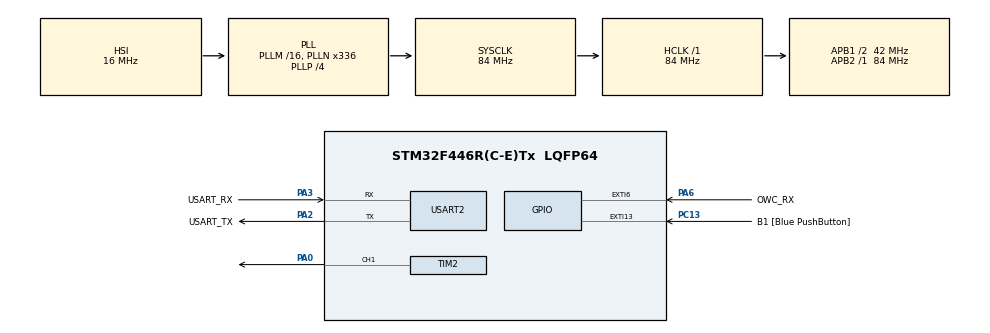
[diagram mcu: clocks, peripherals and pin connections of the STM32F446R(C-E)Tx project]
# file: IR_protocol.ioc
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Mcu.Family=STM32F4
Mcu.Name=STM32F446R(C-E)Tx
Mcu.Package=LQFP64
NVIC.EXTI9_5_IRQn=true\:0\:0\:false\:false\:true\:true\:true\:true
NVIC.PriorityGroup=NVIC_PRIORITYGROUP_0
NVIC.TIM3_IRQn=true\:0\:0\:false\:false\:true\:true\:true\:true
NVIC.TIM4_IRQn=true\:0\:0\:false\:false\:true\:true\:true\:true
PA0-WKUP.Signal=S_TIM2_CH1_ETR
PA13.GPIO_Label=TMS
PA13.Mode=Serial_Wire
PA13.Signal=SYS_JTMS-SWDIO
PA14.GPIO_Label=TCK
PA14.Mode=Serial_Wire
PA14.Signal=SYS_JTCK-SWCLK
PA2.GPIO_Label=USART_TX
PA2.Mode=Asynchronous
PA2.Signal=USART2_TX
PA3.GPIO_Label=USART_RX
PA3.Mode=Asynchronous
PA3.Signal=USART2_RX
PA6.GPIO_Label=OWC_RX
PA6.GPIO_ModeDefaultEXTI=GPIO_MODE_IT_RISING_FALLING
PA6.Signal=GPXTI6
PB3.GPIO_Label=SWO
PB3.Signal=SYS_JTDO-SWO
PC13.GPIO_Label=B1 [Blue PushButton]
PC13.GPIO_ModeDefaultEXTI=GPIO_MODE_IT_FALLING
PC13.Signal=GPXTI13
PC14-OSC32_IN.Mode=LSE-External-Oscillator
PC14-OSC32_IN.Signal=RCC_OSC32_IN
PC15-OSC32_OUT.Mode=LSE-External-Oscillator
PC15-OSC32_OUT.Signal=RCC_OSC32_OUT
PH0-OSC_IN.Mode=HSE-External-Oscillator
PH0-OSC_IN.Signal=RCC_OSC_IN
PH1-OSC_OUT.Mode=HSE-External-Oscillator
PH1-OSC_OUT.Signal=RCC_OSC_OUT
ProjectManager.HeapSize=0x200
ProjectManager.StackSize=0x400
ProjectManager.TargetToolchain=STM32CubeIDE
RCC.48MHZClocksFreq_Value=84000000
RCC.AHBFreq_Value=84000000
RCC.APB1CLKDivider=RCC_HCLK_DIV2
RCC.APB1Freq_Value=42000000
RCC.APB1TimFreq_Value=84000000
RCC.APB2Freq_Value=84000000
RCC.APB2TimFreq_Value=84000000
RCC.CortexFreq_Value=84000000
RCC.FLatency-AdvancedSettings=FLASH_LATENCY_2
RCC.HCLKFreq_Value=84000000
RCC.HSE_VALUE=8000000
RCC.HSI_VALUE=16000000
RCC.PLLN=336
RCC.PLLP=RCC_PLLP_DIV4
RCC.SYSCLKFreq_VALUE=84000000
RCC.SYSCLKSource=RCC_SYSCLKSOURCE_PLLCLK
RCC.USBFreq_Value=168000000
RCC.VCOOutputFreq_Value=336000000
SH.S_TIM2_CH1_ETR.0=TIM2_CH1,PWM Generation1 CH1
TIM2.Channel-PWM\ Generation1\ CH1=TIM_CHANNEL_1
TIM2.Period=1462 - 1
TIM2.Pulse-PWM\ Generation1\ CH1=731 - 1
TIM3.Period=65535
TIM3.Prescaler=84 - 1
TIM4.Prescaler=84 - 1
USART2.VirtualMode=VM_ASYNC
VP_TIM2_VS_ClockSourceINT.Mode=Internal
VP_TIM3_VS_ClockSourceINT.Mode=Internal
VP_TIM4_VS_ClockSourceINT.Mode=Internal
board=NUCLEO-F446RE

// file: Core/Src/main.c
/* USER CODE BEGIN Header */
/**
  ******************************************************************************
  * @file           : main.c
  * @brief          : Main program body
  ******************************************************************************
  * @attention
  *
  * Copyright (c) 2025 STMicroelectronics.
  * All rights reserved.
  *
  * This software is licensed under terms that can be found in the LICENSE file
  * in the root directory of this software component.
  * If no LICENSE file comes with this software, it is provided AS-IS.
  *
  ******************************************************************************
  */
/* USER CODE END Header */
#include "main.h"

/* USER CODE BEGIN Includes */
#include <stdio.h>
#include <stdbool.h>
#include <string.h>
/* USER CODE END Includes */

/* USER CODE BEGIN PTD */

typedef enum{
	LEFT,
	RIGHT
} SideState;

typedef enum{
	LEFT_BURST,
	LEFT_GAP,
	RIGHT_BURST,
	RIGHT_GAP,
	START_BURST,
	START_GAP,
	STOP_BURST,
	STOP_GAP
} TX_STATE;

typedef struct{
	uint16_t burstLen;
	uint16_t gapLen;
} SignalData;

typedef struct{
	uint8_t head;
	uint8_t tail;
	SignalData items[64];
} Queue;

typedef struct{
	uint16_t burstPeriod;
	uint16_t gapPeriod;
	uint16_t burstLower;
	uint16_t burstUpper;
	uint16_t gapLower;
	uint16_t gapUpper;
	uint8_t symbol;
} SymbolTiming;

/* USER CODE END PTD */

TIM_HandleTypeDef htim2;
TIM_HandleTypeDef htim3;
TIM_HandleTypeDef htim4;

UART_HandleTypeDef huart2;

/* USER CODE BEGIN PV */
static volatile bool receivedStartSymbol = false;

// ISR variables
static volatile uint8_t triggerCount = 0;
static volatile uint16_t lastTriggerTime = 0;
static volatile SignalData rxSignal;
// RX data variables
static volatile uint8_t rxDataBuffer[280];
static volatile uint16_t rxDataIndex;
// TX data variables
static uint8_t txDataBuffer[280];
static uint8_t txDataLength = 0;
static volatile uint8_t txDataByte = 0;
static volatile SymbolTiming txCurrentSymbol;
static volatile uint8_t txDataIndex = 0;
static volatile TX_STATE txStatus;
// Data processing variables
static volatile Queue signalBuffer;
static SideState currentDataSide = LEFT;
static uint8_t currentByte = 0;

                   //  BURST PERIOD  GAP PERIOD  MIN BURST  MAX BURST   MIN GAP  MAX GAP   SYMBOL
const SymbolTiming startSymbol = { 521,       174,       504,        591,       141,     207,     254};
const SymbolTiming stopSymbol =  { 521,       174,       504,        591,       141,     207,     255};

const SymbolTiming symbolTable[16] = {
//  BURST PERIOD  GAP PERIOD  MIN BURST  MAX BURST   MIN GAP  MAX GAP   SYMBOL
		{ 104,       174,       87,         174,       141,     207,     0x0 },
		{ 104,       243,       87,         174,       210,     276,     0x1 },
		{ 104,       313,       87,         174,       280,     345,     0x2 },
		{ 104,       382,       87,         174,       349,     415,     0x3 },
		{ 104,       452,       87,         174,       418,     484,     0x4 },
		{ 104,       521,       87,         174,       488,     554,     0x5 },
		{ 208,       174,       191,        278,       141,     207,     0x6 },
		{ 208,       243,       191,        278,       210,     276,     0x7 },
		{ 208,       313,       191,        278,       280,     345,     0x8 },
		{ 208,       382,       191,        278,       349,     415,     0x9 },
		{ 208,       452,       191,        278,       418,     484,     0xA },
		{ 313,       174,       295,        382,       141,     207,     0xB },
		{ 313,       243,       295,        382,       210,     276,     0xC },
		{ 313,       313,       295,        382,       280,     345,     0xD },
		{ 417,       174,       399,        486,       141,     207,     0xE },
		{ 417,       243,       399,        486,       210,     276,     0xF },
};

/* USER CODE END PV */

void SystemClock_Config(void);
static void MX_GPIO_Init(void);
static void MX_USART2_UART_Init(void);
static void MX_TIM2_Init(void);
static void MX_TIM3_Init(void);
static void MX_TIM4_Init(void);
/* USER CODE BEGIN PFP */
static int8_t map_symbol(SignalData);
static void send_to_queue(SignalData);
static void process_optical_data();
static void owc_transmit(uint8_t*, uint8_t);
/* USER CODE END PFP */

int main(void)
{

  /* MCU Configuration--------------------------------------------------------*/

  /* Reset of all peripherals, Initializes the Flash interface and the Systick. */
  HAL_Init();

  /* Configure the system clock */
  SystemClock_Config();

  /* Initialize all configured peripherals */
  MX_GPIO_Init();
  MX_USART2_UART_Init();
  MX_TIM2_Init();
  MX_TIM3_Init();
  MX_TIM4_Init();
  /* USER CODE BEGIN 2 */
  HAL_TIM_Base_Start(&htim3);
  /* USER CODE END 2 */

  /* Infinite loop */
  /* USER CODE BEGIN WHILE */
  while (1)
  {
	  process_optical_data();
    /* USER CODE END WHILE */

  }
}

void SystemClock_Config(void)
{
  RCC_OscInitTypeDef RCC_OscInitStruct = {0};
  RCC_ClkInitTypeDef RCC_ClkInitStruct = {0};

  /** Configure the main internal regulator output voltage
  */
  __HAL_RCC_PWR_CLK_ENABLE();
  __HAL_PWR_VOLTAGESCALING_CONFIG(PWR_REGULATOR_VOLTAGE_SCALE3);

  /** Initializes the RCC Oscillators according to the specified parameters
  * in the RCC_OscInitTypeDef structure.
  */
  RCC_OscInitStruct.OscillatorType = RCC_OSCILLATORTYPE_HSI;
  RCC_OscInitStruct.HSIState = RCC_HSI_ON;
  RCC_OscInitStruct.HSICalibrationValue = RCC_HSICALIBRATION_DEFAULT;
  RCC_OscInitStruct.PLL.PLLState = RCC_PLL_ON;
  RCC_OscInitStruct.PLL.PLLSource = RCC_PLLSOURCE_HSI;
  RCC_OscInitStruct.PLL.PLLM = 16;
  RCC_OscInitStruct.PLL.PLLN = 336;
  RCC_OscInitStruct.PLL.PLLP = RCC_PLLP_DIV4;
  RCC_OscInitStruct.PLL.PLLQ = 2;
  RCC_OscInitStruct.PLL.PLLR = 2;
  if (HAL_RCC_OscConfig(&RCC_OscInitStruct) != HAL_OK)
  {
    Error_Handler();
  }

  /** Initializes the CPU, AHB and APB buses clocks
  */
  RCC_ClkInitStruct.ClockType = RCC_CLOCKTYPE_HCLK|RCC_CLOCKTYPE_SYSCLK
                              |RCC_CLOCKTYPE_PCLK1|RCC_CLOCKTYPE_PCLK2;
  RCC_ClkInitStruct.SYSCLKSource = RCC_SYSCLKSOURCE_PLLCLK;
  RCC_ClkInitStruct.AHBCLKDivider = RCC_SYSCLK_DIV1;
  RCC_ClkInitStruct.APB1CLKDivider = RCC_HCLK_DIV2;
  RCC_ClkInitStruct.APB2CLKDivider = RCC_HCLK_DIV1;

  if (HAL_RCC_ClockConfig(&RCC_ClkInitStruct, FLASH_LATENCY_2) != HAL_OK)
  {
    Error_Handler();
  }
}

static void MX_TIM2_Init(void)
{

  TIM_ClockConfigTypeDef sClockSourceConfig = {0};
  TIM_MasterConfigTypeDef sMasterConfig = {0};
  TIM_OC_InitTypeDef sConfigOC = {0};

  htim2.Instance = TIM2;
  htim2.Init.Prescaler = 0;
  htim2.Init.CounterMode = TIM_COUNTERMODE_UP;
  htim2.Init.Period = 1462 - 1;
  htim2.Init.ClockDivision = TIM_CLOCKDIVISION_DIV1;
  htim2.Init.AutoReloadPreload = TIM_AUTORELOAD_PRELOAD_DISABLE;
  if (HAL_TIM_Base_Init(&htim2) != HAL_OK)
  {
    Error_Handler();
  }
  sClockSourceConfig.ClockSource = TIM_CLOCKSOURCE_INTERNAL;
  if (HAL_TIM_ConfigClockSource(&htim2, &sClockSourceConfig) != HAL_OK)
  {
    Error_Handler();
  }
  if (HAL_TIM_PWM_Init(&htim2) != HAL_OK)
  {
    Error_Handler();
  }
  sMasterConfig.MasterOutputTrigger = TIM_TRGO_RESET;
  sMasterConfig.MasterSlaveMode = TIM_MASTERSLAVEMODE_DISABLE;
  if (HAL_TIMEx_MasterConfigSynchronization(&htim2, &sMasterConfig) != HAL_OK)
  {
    Error_Handler();
  }
  sConfigOC.OCMode = TIM_OCMODE_PWM1;
  sConfigOC.Pulse = 731 - 1;
  sConfigOC.OCPolarity = TIM_OCPOLARITY_HIGH;
  sConfigOC.OCFastMode = TIM_OCFAST_DISABLE;
  if (HAL_TIM_PWM_ConfigChannel(&htim2, &sConfigOC, TIM_CHANNEL_1) != HAL_OK)
  {
    Error_Handler();
  }
  HAL_TIM_MspPostInit(&htim2);

}

static void MX_TIM3_Init(void)
{

  TIM_ClockConfigTypeDef sClockSourceConfig = {0};
  TIM_MasterConfigTypeDef sMasterConfig = {0};

  htim3.Instance = TIM3;
  htim3.Init.Prescaler = 84 - 1;
  htim3.Init.CounterMode = TIM_COUNTERMODE_UP;
  htim3.Init.Period = 65535;
  htim3.Init.ClockDivision = TIM_CLOCKDIVISION_DIV1;
  htim3.Init.AutoReloadPreload = TIM_AUTORELOAD_PRELOAD_DISABLE;
  if (HAL_TIM_Base_Init(&htim3) != HAL_OK)
  {
    Error_Handler();
  }
  sClockSourceConfig.ClockSource = TIM_CLOCKSOURCE_INTERNAL;
  if (HAL_TIM_ConfigClockSource(&htim3, &sClockSourceConfig) != HAL_OK)
  {
    Error_Handler();
  }
  sMasterConfig.MasterOutputTrigger = TIM_TRGO_RESET;
  sMasterConfig.MasterSlaveMode = TIM_MASTERSLAVEMODE_DISABLE;
  if (HAL_TIMEx_MasterConfigSynchronization(&htim3, &sMasterConfig) != HAL_OK)
  {
    Error_Handler();
  }

}

static void MX_TIM4_Init(void)
{

  TIM_ClockConfigTypeDef sClockSourceConfig = {0};
  TIM_MasterConfigTypeDef sMasterConfig = {0};

  htim4.Instance = TIM4;
  htim4.Init.Prescaler = 84 - 1;
  htim4.Init.CounterMode = TIM_COUNTERMODE_UP;
  htim4.Init.Period = 65535;
  htim4.Init.ClockDivision = TIM_CLOCKDIVISION_DIV1;
  htim4.Init.AutoReloadPreload = TIM_AUTORELOAD_PRELOAD_DISABLE;
  if (HAL_TIM_Base_Init(&htim4) != HAL_OK)
  {
    Error_Handler();
  }
  sClockSourceConfig.ClockSource = TIM_CLOCKSOURCE_INTERNAL;
  if (HAL_TIM_ConfigClockSource(&htim4, &sClockSourceConfig) != HAL_OK)
  {
    Error_Handler();
  }
  sMasterConfig.MasterOutputTrigger = TIM_TRGO_RESET;
  sMasterConfig.MasterSlaveMode = TIM_MASTERSLAVEMODE_DISABLE;
  if (HAL_TIMEx_MasterConfigSynchronization(&htim4, &sMasterConfig) != HAL_OK)
  {
    Error_Handler();
  }

}

static void MX_USART2_UART_Init(void)
{

  huart2.Instance = USART2;
  huart2.Init.BaudRate = 115200;
  huart2.Init.WordLength = UART_WORDLENGTH_8B;
  huart2.Init.StopBits = UART_STOPBITS_1;
  huart2.Init.Parity = UART_PARITY_NONE;
  huart2.Init.Mode = UART_MODE_TX_RX;
  huart2.Init.HwFlowCtl = UART_HWCONTROL_NONE;
  huart2.Init.OverSampling = UART_OVERSAMPLING_16;
  if (HAL_UART_Init(&huart2) != HAL_OK)
  {
    Error_Handler();
  }

}

static void MX_GPIO_Init(void)
{
  GPIO_InitTypeDef GPIO_InitStruct = {0};

  /* GPIO Ports Clock Enable */
  __HAL_RCC_GPIOC_CLK_ENABLE();
  __HAL_RCC_GPIOH_CLK_ENABLE();
  __HAL_RCC_GPIOA_CLK_ENABLE();
  __HAL_RCC_GPIOB_CLK_ENABLE();

  /*Configure GPIO pin : B1_Pin */
  GPIO_InitStruct.Pin = B1_Pin;
  GPIO_InitStruct.Mode = GPIO_MODE_IT_FALLING;
  GPIO_InitStruct.Pull = GPIO_NOPULL;
  HAL_GPIO_Init(B1_GPIO_Port, &GPIO_InitStruct);

  /*Configure GPIO pin : OWC_RX_Pin */
  GPIO_InitStruct.Pin = OWC_RX_Pin;
  GPIO_InitStruct.Mode = GPIO_MODE_IT_RISING_FALLING;
  GPIO_InitStruct.Pull = GPIO_NOPULL;
  HAL_GPIO_Init(OWC_RX_GPIO_Port, &GPIO_InitStruct);

  /* EXTI interrupt init*/
  HAL_NVIC_SetPriority(EXTI9_5_IRQn, 0, 0);
  HAL_NVIC_EnableIRQ(EXTI9_5_IRQn);

}

/* USER CODE BEGIN 4 */

static void owc_transmit(uint8_t* data, uint8_t size){

	memcpy(txDataBuffer, data, size);
	txDataLength = size;
	txStatus = START_BURST;
	__HAL_TIM_SET_AUTORELOAD(&htim4, 100);
	HAL_TIM_Base_Start_IT(&htim4);

}

static void process_optical_data(){

	while(signalBuffer.head != signalBuffer.tail){

		SignalData currentSignal = signalBuffer.items[signalBuffer.tail];
		int8_t dataSymbol = map_symbol(currentSignal);

		uint8_t nextindex = (signalBuffer.tail + 1) % 64;

		printf("Burst %d: %d \n",signalBuffer.tail, currentSignal.burstLen);
		printf("Gap %d: %d \n",signalBuffer.tail, currentSignal.gapLen);

		if(currentDataSide == LEFT){
			currentByte = dataSymbol << 4;
			currentDataSide = RIGHT;
		}
		else{
			currentByte |= dataSymbol;
			rxDataBuffer[rxDataIndex] = currentByte;
			rxDataIndex++;

			currentByte = 0;
			currentDataSide = LEFT;
		}

		signalBuffer.tail = nextindex;

	}
}

static int8_t map_symbol(SignalData signal){

	for(int i = 0; i < 16; i++){

		SymbolTiming current = symbolTable[i];

		if( (signal.burstLen >= current.burstLower && signal.burstLen <= current.burstUpper)  &&   (signal.gapLen >= current.gapLower && signal.gapLen <= current.gapUpper) ){

			return current.symbol;

		}

	}

	return -1;

}

static void send_to_queue(SignalData newSignal){
	uint8_t nextindex = (signalBuffer.head + 1) % 64;

	signalBuffer.items[signalBuffer.head] = newSignal;
	signalBuffer.head = nextindex;
}

void HAL_GPIO_EXTI_Callback(uint16_t GPIO_Pin){

	uint16_t timeStamp =  __HAL_TIM_GET_COUNTER(&htim3);
	uint16_t duration = timeStamp - lastTriggerTime;
	lastTriggerTime = timeStamp;
	triggerCount++;

    if(triggerCount == 2){
		rxSignal.burstLen = duration;
	}
	else if(triggerCount > 2){
		rxSignal.gapLen = duration;
		send_to_queue(rxSignal);
		triggerCount = 1;
	}

}

void HAL_TIM_PeriodElapsedCallback(TIM_HandleTypeDef *htim){

	switch(txStatus){

	case START_BURST:

		__HAL_TIM_SET_AUTORELOAD(&htim4, startSymbol.burstPeriod);
		HAL_TIM_PWM_Start(&htim2, TIM_CHANNEL_1);
		__HAL_TIM_SET_COUNTER(&htim4, 0);
		txStatus = START_GAP;

		break;
	case START_GAP:

		HAL_TIM_PWM_Stop(&htim2, TIM_CHANNEL_1);
		__HAL_TIM_SET_AUTORELOAD(&htim4, startSymbol.gapPeriod);
		__HAL_TIM_SET_COUNTER(&htim4, 0);

		txCurrentSymbol = symbolTable[txDataBuffer[txDataIndex] >> 4];
		txStatus = LEFT_BURST;

		break;

	case LEFT_BURST:

		__HAL_TIM_SET_AUTORELOAD(&htim4, txCurrentSymbol.burstPeriod);
		HAL_TIM_PWM_Start(&htim2, TIM_CHANNEL_1);
		__HAL_TIM_SET_COUNTER(&htim4, 0);
		txStatus = LEFT_GAP;

		break;
	case LEFT_GAP:

		HAL_TIM_PWM_Stop(&htim2, TIM_CHANNEL_1);
		__HAL_TIM_SET_AUTORELOAD(&htim4, txCurrentSymbol.gapPeriod);
		__HAL_TIM_SET_COUNTER(&htim4, 0);

		txCurrentSymbol = symbolTable[txDataBuffer[txDataIndex] & 0xF];
		txStatus = RIGHT_BURST;

		break;
	case RIGHT_BURST:

		__HAL_TIM_SET_AUTORELOAD(&htim4, txCurrentSymbol.burstPeriod);
		HAL_TIM_PWM_Start(&htim2, TIM_CHANNEL_1);
		__HAL_TIM_SET_COUNTER(&htim4, 0);
		txStatus = RIGHT_GAP;

		break;
	case RIGHT_GAP:

		HAL_TIM_PWM_Stop(&htim2, TIM_CHANNEL_1);
		__HAL_TIM_SET_AUTORELOAD(&htim4, txCurrentSymbol.gapPeriod);
		__HAL_TIM_SET_COUNTER(&htim4, 0);
		txDataIndex++;

		if(txDataIndex >= txDataLength){
			txStatus = STOP_BURST;
			return;
		}

		txCurrentSymbol = symbolTable[txDataBuffer[txDataIndex] >> 4];
		txStatus = LEFT_BURST;

		break;
	case STOP_BURST:

		__HAL_TIM_SET_AUTORELOAD(&htim4, stopSymbol.burstPeriod);
		HAL_TIM_PWM_Start(&htim2, TIM_CHANNEL_1);
		__HAL_TIM_SET_COUNTER(&htim4, 0);
		txStatus = STOP_GAP;

		break;
	case STOP_GAP:

		HAL_TIM_PWM_Stop(&htim2, TIM_CHANNEL_1);
		HAL_TIM_Base_Stop_IT(&htim4);
		memset(txDataBuffer, 0, 280);
		txStatus = START_BURST;

		break;

	}
}

int _write(int file, char *ptr, int len)
{
  (void)file;
  int DataIdx;

  for (DataIdx = 0; DataIdx < len; DataIdx++)
  {
   ITM_SendChar(*ptr++);
  }
  return len;
}
/* USER CODE END 4 */

void Error_Handler(void)
{
  __disable_irq();
  while (1)
  {
  }
}
